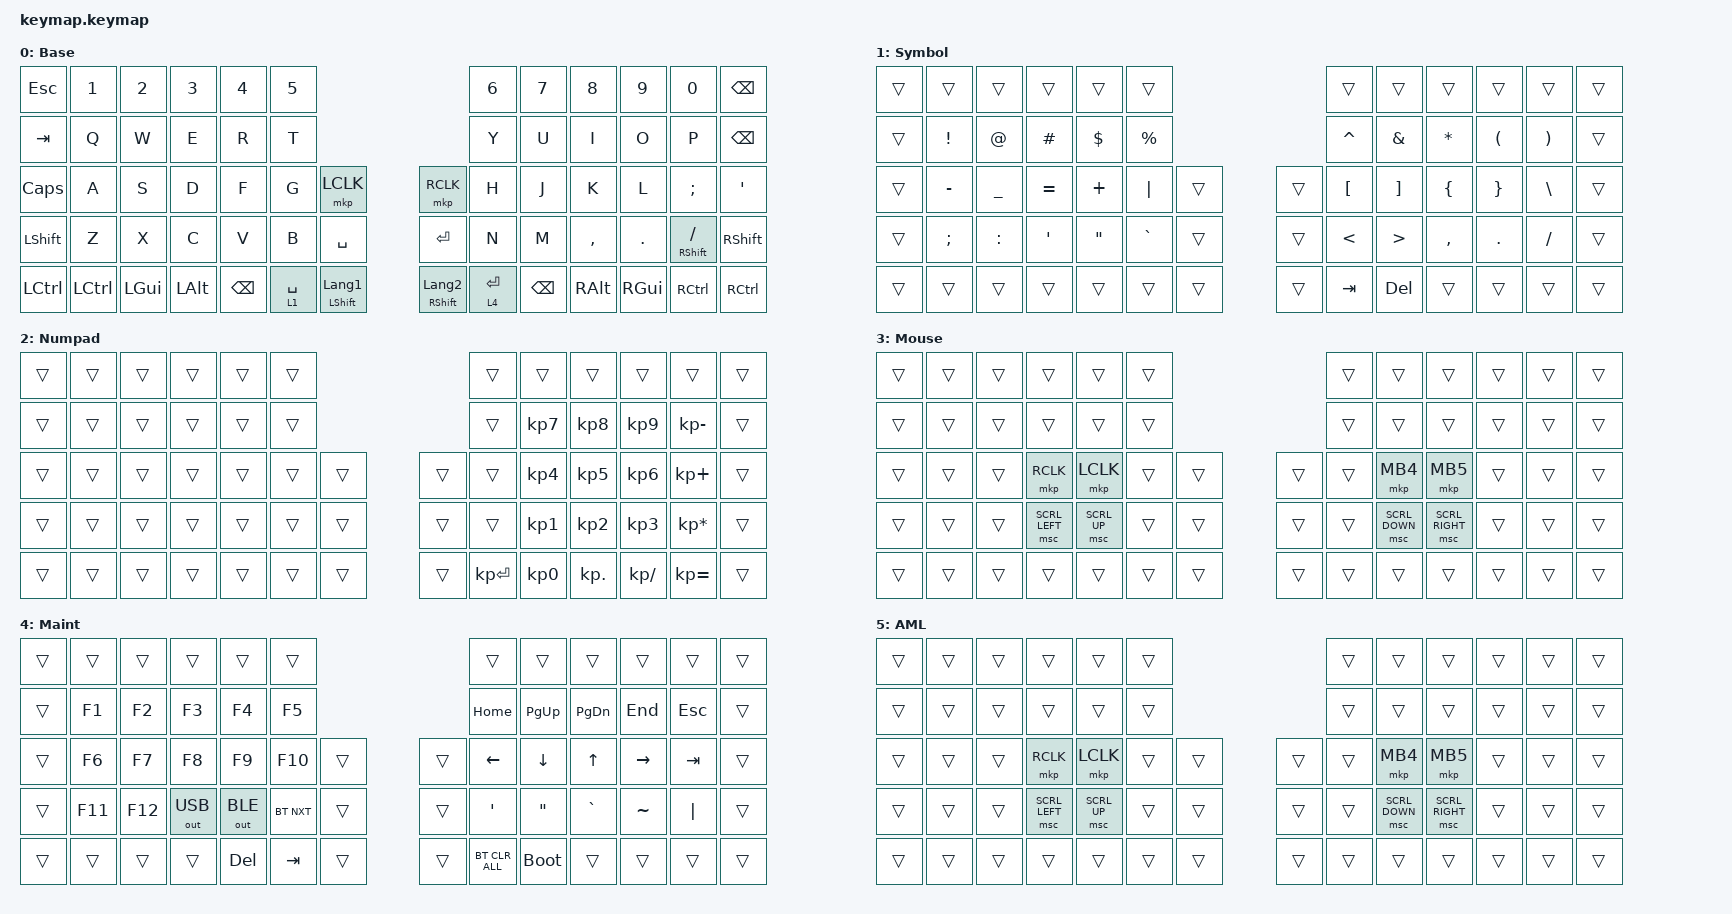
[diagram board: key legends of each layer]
#include <behaviors.dtsi>
#include <dt-bindings/zmk/bt.h>
#include <dt-bindings/zmk/keys.h>
#include <dt-bindings/zmk/outputs.h>
#include <dt-bindings/zmk/pointing.h>

/ {
    combos {
        compatible = "zmk,combos";

        bt_clear {
            bindings = <&bt BT_CLR>;
            key-positions = <28 29>;
            layers = <4>;
        };
    };

    keymap {
        compatible = "zmk,keymap";

        /* Layer 0: 通常入力 */
        layer_0 {
            display-name = "Base";
            bindings = <
&kp ESC    &kp N1     &kp N2    &kp N3    &kp N4    &kp N5                                                         &kp N6       &kp N7    &kp N8     &kp N9    &kp N0                &kp BSPC
&kp TAB    &kp Q      &kp W     &kp E     &kp R     &kp T                                                          &kp Y        &kp U     &kp I      &kp O     &kp P                 &kp BSPC
&kp CAPS   &kp A      &kp S     &kp D     &kp F     &kp G        &mkp LCLK                  &mkp RCLK              &kp H        &kp J     &kp K      &kp L     &kp SEMI              &kp SQT
&kp LSHFT  &kp Z      &kp X     &kp C     &kp V     &kp B        &kp SPACE                  &kp RET                &kp N        &kp M     &kp COMMA  &kp DOT   &mt RIGHT_SHIFT FSLH  &kp RSHFT
&kp LCTRL  &kp LCTRL  &kp LGUI  &kp LALT  &kp BSPC  &lt 1 SPACE  &mt LEFT_SHIFT LANGUAGE_1  &mt RSHIFT LANGUAGE_2  &lt 4 ENTER  &kp BSPC  &kp RALT   &kp RGUI  &kp RCTRL             &kp RCTRL
            >;
        };

        /* Layer 1: 記号 */
        layer_1 {
            display-name = "Symbol";
            bindings = <
&trans  &trans    &trans    &trans    &trans    &trans                    &trans    &trans    &trans    &trans    &trans    &trans
&trans  &kp EXCL  &kp AT    &kp HASH  &kp DLLR  &kp PRCNT                 &kp CARET &kp AMPS  &kp ASTRK &kp LPAR  &kp RPAR  &trans
&trans  &kp MINUS &kp UNDER &kp EQUAL &kp PLUS  &kp PIPE   &trans &trans  &kp LBKT  &kp RBKT  &kp LBRC  &kp RBRC  &kp BSLH  &trans
&trans  &kp SCLN  &kp COLON &kp SQT   &kp DQT   &kp GRAVE  &trans &trans  &kp LT    &kp GT    &kp COMMA &kp DOT   &kp FSLH  &trans
&trans  &trans    &trans    &trans    &trans    &trans     &trans &trans  &kp TAB   &kp DEL   &trans    &trans    &trans    &trans
            >;
        };

        /* Layer 2: テンキー */
        layer_2 {
            display-name = "Numpad";
            bindings = <
&trans  &trans        &trans        &trans        &trans        &trans                     &trans        &trans      &trans      &trans         &trans        &trans
&trans  &trans        &trans        &trans        &trans        &trans                     &trans        &kp KP_N7   &kp KP_N8   &kp KP_N9      &kp KP_MINUS  &trans
&trans  &trans        &trans        &trans        &trans        &trans      &trans &trans  &trans        &kp KP_N4   &kp KP_N5   &kp KP_N6      &kp KP_PLUS   &trans
&trans  &trans        &trans        &trans        &trans        &trans      &trans &trans  &trans        &kp KP_N1   &kp KP_N2   &kp KP_N3      &kp KP_MULTIPLY &trans
&trans  &trans        &trans        &trans        &trans        &trans      &trans &trans  &kp KP_ENTER  &kp KP_N0   &kp KP_DOT  &kp KP_DIVIDE  &kp KP_EQUAL  &trans
            >;
        };

        /* Layer 3: 手動マウス・スクロール */
        layer_3 {
            display-name = "Mouse";
            bindings = <
&trans  &trans  &trans  &trans          &trans          &trans                  &trans  &trans          &trans           &trans  &trans  &trans
&trans  &trans  &trans  &trans          &trans          &trans                  &trans  &trans          &trans           &trans  &trans  &trans
&trans  &trans  &trans  &mkp RCLK       &mkp LCLK       &trans  &trans  &trans  &trans  &mkp MB4        &mkp MB5         &trans  &trans  &trans
&trans  &trans  &trans  &msc SCRL_LEFT  &msc SCRL_UP    &trans  &trans  &trans  &trans  &msc SCRL_DOWN  &msc SCRL_RIGHT  &trans  &trans  &trans
&trans  &trans  &trans  &trans          &trans          &trans  &trans  &trans  &trans  &trans          &trans           &trans  &trans  &trans
            >;
        };

        /* Layer 4: 保守用 */
        layer_4 {
            display-name = "Maint";
            bindings = <
&trans  &trans   &trans   &trans        &trans        &trans                      &trans        &trans     &trans      &trans      &trans      &trans
&trans  &kp F1   &kp F2   &kp F3        &kp F4        &kp F5                      &kp HOME      &kp PG_UP  &kp PG_DN   &kp END     &kp ESC     &trans
&trans  &kp F6   &kp F7   &kp F8        &kp F9        &kp F10     &trans  &trans  &kp LEFT      &kp DOWN   &kp UP      &kp RIGHT   &kp TAB     &trans
&trans  &kp F11  &kp F12  &out OUT_USB  &out OUT_BLE  &bt BT_NXT  &trans  &trans  &kp SQT       &kp DQT    &kp GRAVE   &kp TILDE   &kp PIPE    &trans
&trans  &trans   &trans   &trans        &kp DEL       &kp TAB     &trans  &trans  &bt BT_CLR_ALL &bootloader &trans     &trans      &trans      &trans
            >;
        };

        /* Layer 5: AML 自動用 */
        layer_5 {
            display-name = "AML";
            bindings = <
&trans  &trans  &trans  &trans          &trans          &trans                  &trans  &trans          &trans           &trans  &trans  &trans
&trans  &trans  &trans  &trans          &trans          &trans                  &trans  &trans          &trans           &trans  &trans  &trans
&trans  &trans  &trans  &mkp RCLK       &mkp LCLK       &trans  &trans  &trans  &trans  &mkp MB4        &mkp MB5         &trans  &trans  &trans
&trans  &trans  &trans  &msc SCRL_LEFT  &msc SCRL_UP    &trans  &trans  &trans  &trans  &msc SCRL_DOWN  &msc SCRL_RIGHT  &trans  &trans  &trans
&trans  &trans  &trans  &trans          &trans          &trans  &trans  &trans  &trans  &trans          &trans           &trans  &trans  &trans
            >;
        };
    };
};
